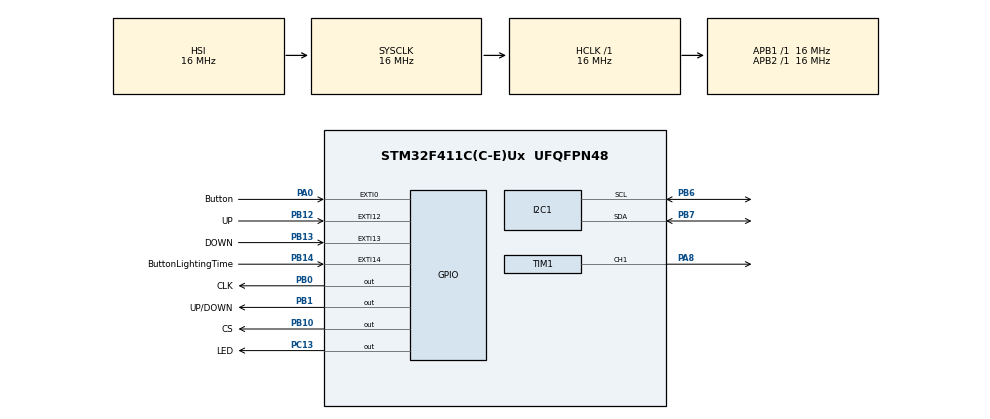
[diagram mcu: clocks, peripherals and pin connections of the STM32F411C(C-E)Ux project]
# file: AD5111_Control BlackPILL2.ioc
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I2C1.I2C_Mode=I2C_Fast
Mcu.Family=STM32F4
Mcu.Name=STM32F411C(C-E)Ux
Mcu.Package=UFQFPN48
NVIC.EXTI0_IRQn=true\:0\:0\:false\:false\:true\:true\:true\:true
NVIC.EXTI15_10_IRQn=true\:0\:0\:false\:false\:true\:true\:true\:true
NVIC.PriorityGroup=NVIC_PRIORITYGROUP_4
PA0-WKUP.GPIO_Label=Button
PA0-WKUP.GPIO_ModeDefaultEXTI=GPIO_MODE_IT_FALLING
PA0-WKUP.GPIO_PuPd=GPIO_PULLUP
PA0-WKUP.Signal=GPXTI0
PA8.Signal=S_TIM1_CH1
PB0.GPIO_Label=CLK
PB0.GPIO_ModeDefaultOutputPP=GPIO_MODE_OUTPUT_OD
PB0.GPIO_PuPd=GPIO_NOPULL
PB0.GPIO_Speed=GPIO_SPEED_FREQ_MEDIUM
PB0.PinState=GPIO_PIN_SET
PB0.Signal=GPIO_Output
PB1.GPIO_Label=UP/DOWN
PB1.GPIO_ModeDefaultOutputPP=GPIO_MODE_OUTPUT_OD
PB1.GPIO_PuPd=GPIO_PULLUP
PB1.GPIO_Speed=GPIO_SPEED_FREQ_MEDIUM
PB1.PinState=GPIO_PIN_SET
PB1.Signal=GPIO_Output
PB10.GPIO_Label=CS
PB10.GPIO_ModeDefaultOutputPP=GPIO_MODE_OUTPUT_OD
PB10.GPIO_PuPd=GPIO_NOPULL
PB10.GPIO_Speed=GPIO_SPEED_FREQ_MEDIUM
PB10.PinState=GPIO_PIN_SET
PB10.Signal=GPIO_Output
PB12.GPIO_Label=UP
PB12.GPIO_ModeDefaultEXTI=GPIO_MODE_IT_FALLING
PB12.GPIO_PuPd=GPIO_PULLUP
PB12.Signal=GPXTI12
PB13.GPIO_Label=DOWN
PB13.GPIO_ModeDefaultEXTI=GPIO_MODE_IT_FALLING
PB13.GPIO_PuPd=GPIO_PULLUP
PB13.Signal=GPXTI13
PB14.GPIO_Label=ButtonLightingTime
PB14.GPIO_ModeDefaultEXTI=GPIO_MODE_IT_FALLING
PB14.GPIO_PuPd=GPIO_PULLUP
PB14.Signal=GPXTI14
PB6.Mode=I2C
PB6.Signal=I2C1_SCL
PB7.Mode=I2C
PB7.Signal=I2C1_SDA
PC13-ANTI_TAMP.GPIO_Label=LED
PC13-ANTI_TAMP.PinState=GPIO_PIN_RESET
PC13-ANTI_TAMP.Signal=GPIO_Output
PH0\ -\ OSC_IN.Mode=HSE-External-Oscillator
PH0\ -\ OSC_IN.Signal=RCC_OSC_IN
PH1\ -\ OSC_OUT.Mode=HSE-External-Oscillator
PH1\ -\ OSC_OUT.Signal=RCC_OSC_OUT
ProjectManager.HeapSize=0x200
ProjectManager.StackSize=0x400
ProjectManager.TargetToolchain=STM32CubeIDE
RCC.AHBFreq_Value=16000000
RCC.APB1Freq_Value=16000000
RCC.APB2Freq_Value=16000000
RCC.CortexFreq_Value=16000000
RCC.HSE_VALUE=25000000
RCC.HSI_VALUE=16000000
RCC.LSE_VALUE=32768
RCC.SYSCLKFreq_VALUE=16000000
RCC.VCOOutputFreq_Value=192000000
SH.S_TIM1_CH1.0=TIM1_CH1,PWM Generation1 CH1
TIM1.AutoReloadPreload=TIM_AUTORELOAD_PRELOAD_ENABLE
TIM1.Channel-PWM\ Generation1\ CH1=TIM_CHANNEL_1
TIM1.Period=1500
TIM1.Prescaler=16
VP_TIM1_VS_ClockSourceINT.Mode=Internal
board=custom

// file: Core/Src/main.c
/* USER CODE BEGIN Header */
/**
  ******************************************************************************
  * @file           : main.c
  * @brief          : Main program body
  ******************************************************************************
  * @attention
  *
  * Copyright (c) 2022 STMicroelectronics.
  * All rights reserved.
  *
  * This software is licensed under terms that can be found in the LICENSE file
  * in the root directory of this software component.
  * If no LICENSE file comes with this software, it is provided AS-IS.
  *
  ******************************************************************************
  */
/* USER CODE END Header */
#include "main.h"

/* USER CODE BEGIN Includes */
#include "fonts.h"
#include "ssd1306.h"
/* USER CODE END Includes */

/* USER CODE BEGIN PD */
//Digital pot-----------------
int AD5111Pos = 0;
int AD5111GoalPos = 0;
int AD5111MaxPos = 127;
int AD5111MinPos = 0;
int Button_Status = 0;
int Button_UP = 0;
int Button_DOWN = 0;
int ButtonLightingTime = 0;
int BLT_Counter = 0;
int countClear = 0;
int Bussy = 0;
int EnableUP = 1 ;
int EnableDOWN = 1;
int32_t T1_PulseWide= 50; // 45us
int32_t T1_Periode = 1500; // 1.5ms
// OledDisplay -------------------------------
char Pos[5];

/* USER CODE END PD */

I2C_HandleTypeDef hi2c1;

TIM_HandleTypeDef htim1;

void SystemClock_Config(void);
static void MX_GPIO_Init(void);
static void MX_I2C1_Init(void);
static void MX_TIM1_Init(void);
/* USER CODE BEGIN PFP */

void incValue(void);
void decValue(void);
void saveMem(void);
void AD5111_UpdateParamter(void);
void AD5111_GoToMax(void);
void AD5111_GoToMin(void);
void onceClearLCD(void);
/* USER CODE END PFP */

int main(void)
{

  /* MCU Configuration--------------------------------------------------------*/

  /* Reset of all peripherals, Initializes the Flash interface and the Systick. */
  HAL_Init();

  /* Configure the system clock */
  SystemClock_Config();

  /* Initialize all configured peripherals */
  MX_GPIO_Init();
  MX_I2C1_Init();
  MX_TIM1_Init();
  /* USER CODE BEGIN 2 */
  TIM1->CCR1 = T1_PulseWide;
  TIM1->ARR = T1_Periode;
  HAL_TIM_PWM_Start(&htim1, TIM_CHANNEL_1);
  HAL_GPIO_WritePin(LED_GPIO_Port, LED_Pin,GPIO_PIN_SET);
 // AD5111Pos = 32;
  //AD5111_GoToMin();
 // AD5111_UpdateParamter();
  AD5111Pos = 0;

  SSD1306_Init();

      SSD1306_GotoXY (0,0);
      SSD1306_Puts (" UV-SENSOR", &Font_11x18, 1);
      SSD1306_GotoXY (0, 30);
      SSD1306_Puts ("ePROGRAMMER", &Font_11x18, 1);
      SSD1306_UpdateScreen();
      HAL_Delay (1000);

  /* USER CODE END 2 */

  /* Infinite loop */
  while (1)
  {

    /* USER CODE BEGIN 3 */
//clear once display

// Button to change lighting time ----------------------
	  if (ButtonLightingTime ==1)
	  {
		  if (BLT_Counter < 3)
		  {
			  BLT_Counter++ ;
			  TIM1->CCR1 = T1_PulseWide*BLT_Counter;
		     }
		  else
		   {
			  BLT_Counter = 0;
		      }

		   ButtonLightingTime = 0;
	      }
//------------------------------------------------------
// increment by button up ------------------------------

	  if ( Button_UP == 1 && EnableUP == 1)
	  {

		  HAL_Delay(500);
		  if (HAL_GPIO_ReadPin(UP_GPIO_Port, UP_Pin) == 0) // if pressed than
		  {
			  HAL_GPIO_WritePin(LED_GPIO_Port, LED_Pin,GPIO_PIN_RESET);

			  AD5111_GoToMax();
			  AD5111_UpdateParamter();

			  SSD1306_GotoXY (0,0);
			  SSD1306_Puts ("Digital Resistor", &Font_7x10, 1);
			  SSD1306_GotoXY (0, 30);
			  SSD1306_Puts ("Set max.", &Font_11x18, 1);
			  SSD1306_UpdateScreen();
			  HAL_Delay (100);

		        }

		  Bussy = 1;
		  EnableDOWN = 1 ;
		  onceClearLCD();
		  HAL_GPIO_WritePin(LED_GPIO_Port, LED_Pin,GPIO_PIN_RESET); // Toggle The Output (LED) Pin

		  //SSD1306_Clear();
          if ( AD5111Pos >= AD5111MaxPos)

          	  {

          		 SSD1306_GotoXY (0, 30);
          		 SSD1306_Puts ("Max.Reached", &Font_11x18, 1);
          		 SSD1306_UpdateScreen();
          		 HAL_Delay (100);
          		 EnableUP = 0 ;

          	      }

             else
                {
            	  AD5111Pos = AD5111Pos + 1;
            	  incValue();
            	  HAL_Delay(1);
            	  saveMem();
            	  HAL_Delay(100);
            	  itoa(AD5111Pos,Pos,10);
				  SSD1306_GotoXY (0,0);
				  SSD1306_Puts ("Digital Resistor", &Font_7x10, 1);
				  SSD1306_GotoXY (0,30);
				  SSD1306_Puts ("Step: ", &Font_11x18, 1);
				  SSD1306_GotoXY (66, 30);
				  SSD1306_Puts ("       ", &Font_11x18, 1);
				  SSD1306_UpdateScreen();
				  HAL_Delay(100);
				  SSD1306_GotoXY (66, 30);
				  SSD1306_Puts(Pos,&Font_11x18, 1);
				  SSD1306_UpdateScreen();
				  HAL_Delay(100);
                     }

		  Button_Status = 0;
		  Button_UP = 0;
		  Button_DOWN = 0;
		  HAL_GPIO_WritePin(LED_GPIO_Port, LED_Pin,GPIO_PIN_SET);
		  Bussy = 0;

	  }
//////////////////////////-------------------------------
	  // decrement by button DOWN ------------------------------
	  	  if ( Button_DOWN == 1 && EnableDOWN == 1 )
	  	  {

	  		    HAL_Delay(500);
	  			if (HAL_GPIO_ReadPin(DOWN_GPIO_Port, DOWN_Pin) == 0) // if pressed than
	  				{
	  			      HAL_GPIO_WritePin(LED_GPIO_Port, LED_Pin,GPIO_PIN_RESET);

	  			      AD5111_GoToMin();
	  				  AD5111_UpdateParamter();

	  				  SSD1306_GotoXY (0,0);
	  				  SSD1306_Puts ("Digital Resistor", &Font_7x10, 1);
	  				  SSD1306_GotoXY (0, 30);
	  				  SSD1306_Puts ("Set min.", &Font_11x18, 1);
	  				  SSD1306_UpdateScreen();
	  				  HAL_Delay (100);

	  				        }

	  		  Bussy = 1;
	  		  EnableUP = 1 ;
	  		  onceClearLCD();

	  		  HAL_GPIO_WritePin(LED_GPIO_Port, LED_Pin,GPIO_PIN_RESET); // Toggle The Output (LED) Pin

	          if ( AD5111Pos <= AD5111MinPos)

	                    	  {

	                    		 SSD1306_GotoXY (0, 30);
	                    		 SSD1306_Puts ("Min.Reached", &Font_11x18, 1);
	                    		 SSD1306_UpdateScreen();
	                    		 HAL_Delay (100);
	                    	     EnableDOWN = 0 ;

	                    	 	    }
	          else
	          {
	          AD5111Pos = AD5111Pos -1;
	          decValue();
	          HAL_Delay(1);
	          saveMem();
	          HAL_Delay(100);
	          itoa(AD5111Pos,Pos,10);
	          SSD1306_GotoXY (0,0);
	          SSD1306_Puts ("Digital Resistor", &Font_7x10, 1);
	          SSD1306_GotoXY (0,30);
	          SSD1306_Puts ("Step: ", &Font_11x18, 1);
	          SSD1306_GotoXY (66, 30);
	          SSD1306_Puts ("       ", &Font_11x18, 1);
	          SSD1306_UpdateScreen();
	          HAL_Delay(100);
	          SSD1306_GotoXY (66, 30);
	          SSD1306_Puts(Pos,&Font_11x18, 1);
	  		  SSD1306_UpdateScreen();
	  		  HAL_Delay(100);
	             }

	  		 Button_Status = 0;
	  		 Button_UP = 0;
	  		 Button_DOWN = 0;
	  		 HAL_GPIO_WritePin(LED_GPIO_Port, LED_Pin,GPIO_PIN_SET);
	  		 Bussy = 0;

	  	  }
	  //////////////////////////-------------------------------

  }
  /* USER CODE END 3 */
}

void SystemClock_Config(void)
{
  RCC_OscInitTypeDef RCC_OscInitStruct = {0};
  RCC_ClkInitTypeDef RCC_ClkInitStruct = {0};

  /** Configure the main internal regulator output voltage
  */
  __HAL_RCC_PWR_CLK_ENABLE();
  __HAL_PWR_VOLTAGESCALING_CONFIG(PWR_REGULATOR_VOLTAGE_SCALE1);

  /** Initializes the RCC Oscillators according to the specified parameters
  * in the RCC_OscInitTypeDef structure.
  */
  RCC_OscInitStruct.OscillatorType = RCC_OSCILLATORTYPE_HSI;
  RCC_OscInitStruct.HSIState = RCC_HSI_ON;
  RCC_OscInitStruct.HSICalibrationValue = RCC_HSICALIBRATION_DEFAULT;
  RCC_OscInitStruct.PLL.PLLState = RCC_PLL_NONE;
  if (HAL_RCC_OscConfig(&RCC_OscInitStruct) != HAL_OK)
  {
    Error_Handler();
  }

  /** Initializes the CPU, AHB and APB buses clocks
  */
  RCC_ClkInitStruct.ClockType = RCC_CLOCKTYPE_HCLK|RCC_CLOCKTYPE_SYSCLK
                              |RCC_CLOCKTYPE_PCLK1|RCC_CLOCKTYPE_PCLK2;
  RCC_ClkInitStruct.SYSCLKSource = RCC_SYSCLKSOURCE_HSI;
  RCC_ClkInitStruct.AHBCLKDivider = RCC_SYSCLK_DIV1;
  RCC_ClkInitStruct.APB1CLKDivider = RCC_HCLK_DIV1;
  RCC_ClkInitStruct.APB2CLKDivider = RCC_HCLK_DIV1;

  if (HAL_RCC_ClockConfig(&RCC_ClkInitStruct, FLASH_LATENCY_0) != HAL_OK)
  {
    Error_Handler();
  }
}

static void MX_I2C1_Init(void)
{

  hi2c1.Instance = I2C1;
  hi2c1.Init.ClockSpeed = 400000;
  hi2c1.Init.DutyCycle = I2C_DUTYCYCLE_2;
  hi2c1.Init.OwnAddress1 = 0;
  hi2c1.Init.AddressingMode = I2C_ADDRESSINGMODE_7BIT;
  hi2c1.Init.DualAddressMode = I2C_DUALADDRESS_DISABLE;
  hi2c1.Init.OwnAddress2 = 0;
  hi2c1.Init.GeneralCallMode = I2C_GENERALCALL_DISABLE;
  hi2c1.Init.NoStretchMode = I2C_NOSTRETCH_DISABLE;
  if (HAL_I2C_Init(&hi2c1) != HAL_OK)
  {
    Error_Handler();
  }

}

static void MX_TIM1_Init(void)
{

  TIM_ClockConfigTypeDef sClockSourceConfig = {0};
  TIM_MasterConfigTypeDef sMasterConfig = {0};
  TIM_OC_InitTypeDef sConfigOC = {0};
  TIM_BreakDeadTimeConfigTypeDef sBreakDeadTimeConfig = {0};

  htim1.Instance = TIM1;
  htim1.Init.Prescaler = 16;
  htim1.Init.CounterMode = TIM_COUNTERMODE_UP;
  htim1.Init.Period = 1500;
  htim1.Init.ClockDivision = TIM_CLOCKDIVISION_DIV1;
  htim1.Init.RepetitionCounter = 0;
  htim1.Init.AutoReloadPreload = TIM_AUTORELOAD_PRELOAD_ENABLE;
  if (HAL_TIM_Base_Init(&htim1) != HAL_OK)
  {
    Error_Handler();
  }
  sClockSourceConfig.ClockSource = TIM_CLOCKSOURCE_INTERNAL;
  if (HAL_TIM_ConfigClockSource(&htim1, &sClockSourceConfig) != HAL_OK)
  {
    Error_Handler();
  }
  if (HAL_TIM_PWM_Init(&htim1) != HAL_OK)
  {
    Error_Handler();
  }
  sMasterConfig.MasterOutputTrigger = TIM_TRGO_RESET;
  sMasterConfig.MasterSlaveMode = TIM_MASTERSLAVEMODE_DISABLE;
  if (HAL_TIMEx_MasterConfigSynchronization(&htim1, &sMasterConfig) != HAL_OK)
  {
    Error_Handler();
  }
  sConfigOC.OCMode = TIM_OCMODE_PWM1;
  sConfigOC.Pulse = 0;
  sConfigOC.OCPolarity = TIM_OCPOLARITY_HIGH;
  sConfigOC.OCNPolarity = TIM_OCNPOLARITY_HIGH;
  sConfigOC.OCFastMode = TIM_OCFAST_DISABLE;
  sConfigOC.OCIdleState = TIM_OCIDLESTATE_RESET;
  sConfigOC.OCNIdleState = TIM_OCNIDLESTATE_RESET;
  if (HAL_TIM_PWM_ConfigChannel(&htim1, &sConfigOC, TIM_CHANNEL_1) != HAL_OK)
  {
    Error_Handler();
  }
  sBreakDeadTimeConfig.OffStateRunMode = TIM_OSSR_DISABLE;
  sBreakDeadTimeConfig.OffStateIDLEMode = TIM_OSSI_DISABLE;
  sBreakDeadTimeConfig.LockLevel = TIM_LOCKLEVEL_OFF;
  sBreakDeadTimeConfig.DeadTime = 0;
  sBreakDeadTimeConfig.BreakState = TIM_BREAK_DISABLE;
  sBreakDeadTimeConfig.BreakPolarity = TIM_BREAKPOLARITY_HIGH;
  sBreakDeadTimeConfig.AutomaticOutput = TIM_AUTOMATICOUTPUT_DISABLE;
  if (HAL_TIMEx_ConfigBreakDeadTime(&htim1, &sBreakDeadTimeConfig) != HAL_OK)
  {
    Error_Handler();
  }
  HAL_TIM_MspPostInit(&htim1);

}

static void MX_GPIO_Init(void)
{
  GPIO_InitTypeDef GPIO_InitStruct = {0};

  /* GPIO Ports Clock Enable */
  __HAL_RCC_GPIOC_CLK_ENABLE();
  __HAL_RCC_GPIOH_CLK_ENABLE();
  __HAL_RCC_GPIOA_CLK_ENABLE();
  __HAL_RCC_GPIOB_CLK_ENABLE();

  /*Configure GPIO pin Output Level */
  HAL_GPIO_WritePin(LED_GPIO_Port, LED_Pin, GPIO_PIN_RESET);

  /*Configure GPIO pin Output Level */
  HAL_GPIO_WritePin(GPIOB, CLK_Pin|UP_DOWN_Pin|CS_Pin, GPIO_PIN_SET);

  /*Configure GPIO pin : LED_Pin */
  GPIO_InitStruct.Pin = LED_Pin;
  GPIO_InitStruct.Mode = GPIO_MODE_OUTPUT_PP;
  GPIO_InitStruct.Pull = GPIO_NOPULL;
  GPIO_InitStruct.Speed = GPIO_SPEED_FREQ_LOW;
  HAL_GPIO_Init(LED_GPIO_Port, &GPIO_InitStruct);

  /*Configure GPIO pin : Button_Pin */
  GPIO_InitStruct.Pin = Button_Pin;
  GPIO_InitStruct.Mode = GPIO_MODE_IT_FALLING;
  GPIO_InitStruct.Pull = GPIO_PULLUP;
  HAL_GPIO_Init(Button_GPIO_Port, &GPIO_InitStruct);

  /*Configure GPIO pins : CLK_Pin CS_Pin */
  GPIO_InitStruct.Pin = CLK_Pin|CS_Pin;
  GPIO_InitStruct.Mode = GPIO_MODE_OUTPUT_OD;
  GPIO_InitStruct.Pull = GPIO_NOPULL;
  GPIO_InitStruct.Speed = GPIO_SPEED_FREQ_MEDIUM;
  HAL_GPIO_Init(GPIOB, &GPIO_InitStruct);

  /*Configure GPIO pin : UP_DOWN_Pin */
  GPIO_InitStruct.Pin = UP_DOWN_Pin;
  GPIO_InitStruct.Mode = GPIO_MODE_OUTPUT_OD;
  GPIO_InitStruct.Pull = GPIO_PULLUP;
  GPIO_InitStruct.Speed = GPIO_SPEED_FREQ_MEDIUM;
  HAL_GPIO_Init(UP_DOWN_GPIO_Port, &GPIO_InitStruct);

  /*Configure GPIO pins : UP_Pin DOWN_Pin ButtonLightingTime_Pin */
  GPIO_InitStruct.Pin = UP_Pin|DOWN_Pin|ButtonLightingTime_Pin;
  GPIO_InitStruct.Mode = GPIO_MODE_IT_FALLING;
  GPIO_InitStruct.Pull = GPIO_PULLUP;
  HAL_GPIO_Init(GPIOB, &GPIO_InitStruct);

  /* EXTI interrupt init*/
  HAL_NVIC_SetPriority(EXTI0_IRQn, 0, 0);
  HAL_NVIC_EnableIRQ(EXTI0_IRQn);

  HAL_NVIC_SetPriority(EXTI15_10_IRQn, 0, 0);
  HAL_NVIC_EnableIRQ(EXTI15_10_IRQn);

}

/* USER CODE BEGIN 4 */

void incValue(void)
{

	HAL_GPIO_WritePin(UP_DOWN_GPIO_Port,UP_DOWN_Pin,GPIO_PIN_SET);

	HAL_GPIO_WritePin(CLK_GPIO_Port,CLK_Pin,GPIO_PIN_RESET);
	HAL_GPIO_WritePin(CS_GPIO_Port,CS_Pin,GPIO_PIN_RESET);// here was cs to reset

	HAL_GPIO_WritePin(CLK_GPIO_Port,CLK_Pin,GPIO_PIN_SET);
	HAL_GPIO_WritePin(CLK_GPIO_Port,CLK_Pin,GPIO_PIN_RESET);

	HAL_GPIO_WritePin(CLK_GPIO_Port,CLK_Pin,GPIO_PIN_SET);

	HAL_GPIO_WritePin(CS_GPIO_Port,CS_Pin,GPIO_PIN_SET);// here was cs to set
}
void decValue(void)
{

	    HAL_GPIO_WritePin(UP_DOWN_GPIO_Port,UP_DOWN_Pin,GPIO_PIN_RESET);

		HAL_GPIO_WritePin(CLK_GPIO_Port,CLK_Pin,GPIO_PIN_RESET);
		HAL_GPIO_WritePin(CS_GPIO_Port,CS_Pin,GPIO_PIN_RESET);// here was cs to reset

		HAL_GPIO_WritePin(CLK_GPIO_Port,CLK_Pin,GPIO_PIN_SET);
		HAL_GPIO_WritePin(CLK_GPIO_Port,CLK_Pin,GPIO_PIN_RESET);

		HAL_GPIO_WritePin(CLK_GPIO_Port,CLK_Pin,GPIO_PIN_SET);

		HAL_GPIO_WritePin(CS_GPIO_Port,CS_Pin,GPIO_PIN_SET);// here was cs to set

}
void saveMem(void)
{

	HAL_GPIO_WritePin(CLK_GPIO_Port,CLK_Pin,GPIO_PIN_SET);
	HAL_GPIO_WritePin(UP_DOWN_GPIO_Port,UP_DOWN_Pin,GPIO_PIN_RESET);
	HAL_GPIO_WritePin(CS_GPIO_Port,CS_Pin,GPIO_PIN_RESET);

	HAL_GPIO_WritePin(UP_DOWN_GPIO_Port,UP_DOWN_Pin,GPIO_PIN_SET);
	HAL_GPIO_WritePin(UP_DOWN_GPIO_Port,UP_DOWN_Pin,GPIO_PIN_RESET);

	HAL_GPIO_WritePin(CS_GPIO_Port,CS_Pin,GPIO_PIN_SET);

}
void shutDown(void)
{

	HAL_GPIO_WritePin(UP_DOWN_GPIO_Port,UP_DOWN_Pin,GPIO_PIN_RESET);
	HAL_GPIO_WritePin(UP_DOWN_GPIO_Port,UP_DOWN_Pin,GPIO_PIN_SET);
	HAL_GPIO_WritePin(CS_GPIO_Port,CS_Pin,GPIO_PIN_RESET);
	HAL_GPIO_WritePin(UP_DOWN_GPIO_Port,UP_DOWN_Pin,GPIO_PIN_SET);
}

void AD5111_UpdateParamter(void)
{
	int i =0;
	if (AD5111Pos <= AD5111GoalPos)
	{
		for (i = AD5111Pos; i <= AD5111GoalPos; i++)

		 {
			incValue();
			AD5111Pos = AD5111Pos +1;

		    }
	     }
	else if (AD5111Pos > AD5111GoalPos)
	 {
		for (i = AD5111Pos; i >= AD5111GoalPos; i--)

			{
				decValue();
				AD5111Pos = AD5111Pos -1;
					}
			    }

}

void AD5111_GoToMax(void)
{
	AD5111GoalPos = AD5111MaxPos;
	AD5111_UpdateParamter();
}

void AD5111_GoToMin(void)
{
	 AD5111GoalPos = AD5111MinPos;
     AD5111_UpdateParamter();
}

void HAL_GPIO_EXTI_Callback(uint16_t GPIO_Pin)
{
    if(GPIO_Pin == Button_Pin && Bussy == 0) // If The INT Source Is EXTI Line9 (A9 Pin)
    {
   // HAL_GPIO_TogglePin(LED_GPIO_Port, LED_Pin); // Toggle The Output (LED) Pin
    Button_Status = 1 ;

   // HAL_ADC_Start_IT(&hadc1);

      }

    if(GPIO_Pin == UP_Pin && Bussy == 0) // If The INT Source Is EXTI Line9 (A9 Pin)
        {
           Button_UP = 1 ;

           //HAL_Delay(10);
          }

    if(GPIO_Pin == DOWN_Pin && Bussy == 0) // If The INT Source Is EXTI Line9 (A9 Pin)
         {
            Button_DOWN = 1 ;

           // HAL_Delay(10);

           }

    if(GPIO_Pin == ButtonLightingTime_Pin ) // If The INT Source Is EXTI Line9 (A9 Pin)
         {

    	     ButtonLightingTime = 1 ;

            // HAL_Delay(10);

           }

}

void onceClearLCD(void)
{
	if (countClear < 1 )
		  {
			  SSD1306_Clear();
			  countClear+=1;

		       }
}

/* USER CODE END 4 */

void Error_Handler(void)
{
  __disable_irq();
  while (1)
  {
  }
}
